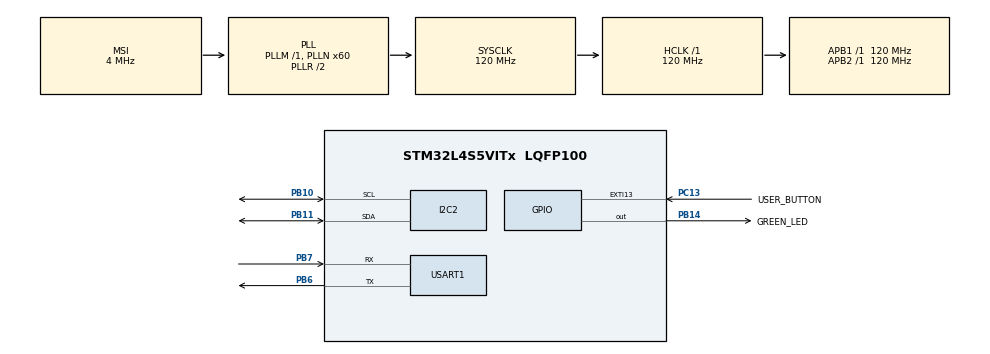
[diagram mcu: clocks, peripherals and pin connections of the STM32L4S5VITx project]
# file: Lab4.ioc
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FREERTOS.Tasks01=button,2,128,CheckButtonPressed,Default,NULL,Dynamic,NULL,NULL;read,0,128,ReadSensorData,Default,NULL,Dynamic,NULL,NULL;transmit,-2,128,TransmitData,Default,NULL,Dynamic,NULL,NULL
I2C2.Timing=0x307075B1
Mcu.Family=STM32L4
Mcu.Name=STM32L4S5VITx
Mcu.Package=LQFP100
NVIC.EXTI15_10_IRQn=true\:5\:0\:false\:false\:true\:true\:true\:true
NVIC.PriorityGroup=NVIC_PRIORITYGROUP_4
NVIC.TIM2_IRQn=true\:5\:0\:false\:false\:true\:true\:true\:true
NVIC.TIM6_DAC_IRQn=true\:0\:0\:false\:false\:true\:false\:false\:true
NVIC.TimeBase=TIM6_DAC_IRQn
NVIC.TimeBaseIP=TIM6
PA13\ (JTMS/SWDIO).Signal=SYS_JTMS-SWDIO
PB10.Mode=I2C
PB10.Signal=I2C2_SCL
PB11.Mode=I2C
PB11.Signal=I2C2_SDA
PB14.GPIO_Label=GREEN_LED
PB14.Signal=GPIO_Output
PB3\ (JTDO/TRACESWO).Signal=SYS_JTDO-SWO
PB6.Mode=Asynchronous
PB6.Signal=USART1_TX
PB7.Mode=Asynchronous
PB7.Signal=USART1_RX
PC13.GPIO_Label=USER_BUTTON
PC13.Signal=GPXTI13
ProjectManager.HeapSize=0x200
ProjectManager.StackSize=0x400
ProjectManager.TargetToolchain=STM32CubeIDE
RCC.ADCFreq_Value=48000000
RCC.AHBFreq_Value=120000000
RCC.APB1Freq_Value=120000000
RCC.APB1TimFreq_Value=120000000
RCC.APB2Freq_Value=120000000
RCC.APB2TimFreq_Value=120000000
RCC.CortexFreq_Value=120000000
RCC.HCLKFreq_Value=120000000
RCC.HSE_VALUE=8000000
RCC.HSI48_VALUE=48000000
RCC.HSI_VALUE=16000000
RCC.LSE_VALUE=32768
RCC.MSI_VALUE=4000000
RCC.PLLN=60
RCC.PLLSAI1N=24
RCC.SYSCLKFreq_VALUE=120000000
RCC.SYSCLKSource=RCC_SYSCLKSOURCE_PLLCLK
RCC.USBFreq_Value=48000000
RCC.VCOOutputFreq_Value=240000000
TIM2.Period=12000000
TIM2.TIM_MasterOutputTrigger=TIM_TRGO_UPDATE
USART1.VirtualMode-Asynchronous=VM_ASYNC
VP_FREERTOS_VS_CMSIS_V1.Mode=CMSIS_V1
VP_SYS_VS_tim6.Mode=TIM6
VP_TIM2_VS_ClockSourceINT.Mode=Internal
board=B-L4S5I-IOT01A

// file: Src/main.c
/* USER CODE BEGIN Header */
/**
  ******************************************************************************
  * @file           : main.c
  * @brief          : Main program body
  ******************************************************************************
  * @attention
  *
  * <h2><center>&copy; Copyright (c) 2021 STMicroelectronics.
  * All rights reserved.</center></h2>
  *
  * This software component is licensed by ST under BSD 3-Clause license,
  * the "License"; You may not use this file except in compliance with the
  * License. You may obtain a copy of the License at:
  *                        opensource.org/licenses/BSD-3-Clause
  *
  ******************************************************************************
  */
/* USER CODE END Header */
#include "main.h"
#include "cmsis_os.h"

/* USER CODE BEGIN Includes */
#include "arm_math.h"
#include <stdio.h>
#include <string.h>
#include "stm32l4s5i_iot01_accelero.h"
#include "stm32l4s5i_iot01_gyro.h"
#include "stm32l4s5i_iot01_hsensor.h"
#include "stm32l4s5i_iot01_magneto.h"
#include "stm32l4s5i_iot01_nfctag.h"
#include "stm32l4s5i_iot01_psensor.h"
#include "stm32l4s5i_iot01_tsensor.h"
/* USER CODE END Includes */

I2C_HandleTypeDef hi2c2;

TIM_HandleTypeDef htim2;

UART_HandleTypeDef huart1;

osThreadId buttonHandle;
osThreadId readHandle;
osThreadId transmitHandle;

void SystemClock_Config(void);
static void MX_GPIO_Init(void);
static void MX_I2C2_Init(void);
static void MX_USART1_UART_Init(void);
static void MX_TIM2_Init(void);
void CheckButtonPressed(void const * argument);
void ReadSensorData(void const * argument);
void TransmitData(void const * argument);

/* USER CODE BEGIN PFP */
void HAL_GPIO_EXTI_Callback(uint16_t GPIO_Pin);
void HAL_TIM_PeriodElapsedCallback (TIM_HandleTypeDef * htim);
/* USER CODE END PFP */

/* USER CODE BEGIN 0 */
float humidity = 0.0;	// for humidity, HTS221
int16_t pDataXYZ_magneto[3];		// for magnetometer, LIS3MDL
int16_t pDataXYZ_accelero[3];		// for accelerometer, LSM6DSL
float pressure = 0;		// for barometer, LPS22HB

uint8_t str[100];		// store string
int button_counter = 0;	// count button state
int number = 0;			// for sample rate check
int another_number = 0;	// for sample rate check

int previousButtonState = GPIO_PIN_SET;	// record previous button state, initially it is 1 (not pressed)
/* USER CODE END 0 */

int main(void)
{

  /* MCU Configuration--------------------------------------------------------*/

  /* Reset of all peripherals, Initializes the Flash interface and the Systick. */
  HAL_Init();

  /* Configure the system clock */
  SystemClock_Config();

  /* Initialize all configured peripherals */
  MX_GPIO_Init();
  MX_I2C2_Init();
  MX_USART1_UART_Init();
  MX_TIM2_Init();
  /* USER CODE BEGIN 2 */
  // Initialize peripherals
  BSP_HSENSOR_Init();
  BSP_MAGNETO_Init();
  BSP_ACCELERO_Init();
  BSP_PSENSOR_Init();
//  HAL_TIM_Base_Start_IT(&htim2);

  /* USER CODE END 2 */

  /* Create the thread(s) */
  /* definition and creation of button */
  osThreadDef(button, CheckButtonPressed, osPriorityHigh, 0, 128);
  buttonHandle = osThreadCreate(osThread(button), NULL);

  /* definition and creation of read */
  osThreadDef(read, ReadSensorData, osPriorityNormal, 0, 128);
  readHandle = osThreadCreate(osThread(read), NULL);

  /* definition and creation of transmit */
  osThreadDef(transmit, TransmitData, osPriorityLow, 0, 128);
  transmitHandle = osThreadCreate(osThread(transmit), NULL);

  /* Start scheduler */
  osKernelStart();

  /* We should never get here as control is now taken by the scheduler */
  /* Infinite loop */
  /* USER CODE BEGIN WHILE */
  while (1)
  {
	  // Read value
	  humidity = BSP_HSENSOR_ReadHumidity();	// read humidity
	  BSP_MAGNETO_GetXYZ(pDataXYZ_magneto);		// read magneto
	  BSP_ACCELERO_AccGetXYZ(pDataXYZ_accelero);// read accelero
	  pressure = BSP_PSENSOR_ReadPressure();	// read pressure
	  another_number = number * 2;		// for sample rate testing in SWV timeline graph
	  HAL_Delay(10);	// further adjust sample rate
	  // Print value
	  memset(str,0,100);		// clear str
	  if (button_counter == 0) {
		  sprintf((char*)str, "The humidity reading is %d\n", (int)humidity);	// store string into str
		  HAL_UART_Transmit(&huart1, str, strlen((char*)str), 5);	// display humidity
	  }
	  else if (button_counter == 1) {
		  sprintf((char*)str, "The magnetometer readings are X = %d, Y = %d, Z = %d\n", (int)pDataXYZ_magneto[0], (int)pDataXYZ_magneto[1], (int)pDataXYZ_magneto[2]);	// store string into str
		  HAL_UART_Transmit(&huart1, str, strlen((char*)str), 5);	// display 3-axis magnetometer readings
	  }
	  else if (button_counter == 2) {
		  sprintf((char*)str, "The accelerometer readings are X = %d, Y = %d, Z = %d\n", (int)pDataXYZ_accelero[0], (int)pDataXYZ_accelero[1], (int)pDataXYZ_accelero[2]);	// store string into str
		  HAL_UART_Transmit(&huart1, str, strlen((char*)str), 5);	// display 3D accelerometer readings
	  }
	  else if (button_counter == 3) {
		  sprintf((char*)str, "The barometer reading is %d\n", (int)pressure);	// store string into str
		  HAL_UART_Transmit(&huart1, str, strlen((char*)str), 5);	// display pressure
	  }
    /* USER CODE END WHILE */

  }
}

void SystemClock_Config(void)
{
  RCC_OscInitTypeDef RCC_OscInitStruct = {0};
  RCC_ClkInitTypeDef RCC_ClkInitStruct = {0};
  RCC_PeriphCLKInitTypeDef PeriphClkInit = {0};

  /** Configure the main internal regulator output voltage
  */
  if (HAL_PWREx_ControlVoltageScaling(PWR_REGULATOR_VOLTAGE_SCALE1_BOOST) != HAL_OK)
  {
    Error_Handler();
  }
  /** Initializes the RCC Oscillators according to the specified parameters
  * in the RCC_OscInitTypeDef structure.
  */
  RCC_OscInitStruct.OscillatorType = RCC_OSCILLATORTYPE_MSI;
  RCC_OscInitStruct.MSIState = RCC_MSI_ON;
  RCC_OscInitStruct.MSICalibrationValue = 0;
  RCC_OscInitStruct.MSIClockRange = RCC_MSIRANGE_6;
  RCC_OscInitStruct.PLL.PLLState = RCC_PLL_ON;
  RCC_OscInitStruct.PLL.PLLSource = RCC_PLLSOURCE_MSI;
  RCC_OscInitStruct.PLL.PLLM = 1;
  RCC_OscInitStruct.PLL.PLLN = 60;
  RCC_OscInitStruct.PLL.PLLP = RCC_PLLP_DIV2;
  RCC_OscInitStruct.PLL.PLLQ = RCC_PLLQ_DIV2;
  RCC_OscInitStruct.PLL.PLLR = RCC_PLLR_DIV2;
  if (HAL_RCC_OscConfig(&RCC_OscInitStruct) != HAL_OK)
  {
    Error_Handler();
  }
  /** Initializes the CPU, AHB and APB buses clocks
  */
  RCC_ClkInitStruct.ClockType = RCC_CLOCKTYPE_HCLK|RCC_CLOCKTYPE_SYSCLK
                              |RCC_CLOCKTYPE_PCLK1|RCC_CLOCKTYPE_PCLK2;
  RCC_ClkInitStruct.SYSCLKSource = RCC_SYSCLKSOURCE_PLLCLK;
  RCC_ClkInitStruct.AHBCLKDivider = RCC_SYSCLK_DIV1;
  RCC_ClkInitStruct.APB1CLKDivider = RCC_HCLK_DIV1;
  RCC_ClkInitStruct.APB2CLKDivider = RCC_HCLK_DIV1;

  if (HAL_RCC_ClockConfig(&RCC_ClkInitStruct, FLASH_LATENCY_5) != HAL_OK)
  {
    Error_Handler();
  }
  PeriphClkInit.PeriphClockSelection = RCC_PERIPHCLK_USART1|RCC_PERIPHCLK_I2C2;
  PeriphClkInit.Usart1ClockSelection = RCC_USART1CLKSOURCE_PCLK2;
  PeriphClkInit.I2c2ClockSelection = RCC_I2C2CLKSOURCE_PCLK1;
  if (HAL_RCCEx_PeriphCLKConfig(&PeriphClkInit) != HAL_OK)
  {
    Error_Handler();
  }
}

static void MX_I2C2_Init(void)
{

  hi2c2.Instance = I2C2;
  hi2c2.Init.Timing = 0x307075B1;
  hi2c2.Init.OwnAddress1 = 0;
  hi2c2.Init.AddressingMode = I2C_ADDRESSINGMODE_7BIT;
  hi2c2.Init.DualAddressMode = I2C_DUALADDRESS_DISABLE;
  hi2c2.Init.OwnAddress2 = 0;
  hi2c2.Init.OwnAddress2Masks = I2C_OA2_NOMASK;
  hi2c2.Init.GeneralCallMode = I2C_GENERALCALL_DISABLE;
  hi2c2.Init.NoStretchMode = I2C_NOSTRETCH_DISABLE;
  if (HAL_I2C_Init(&hi2c2) != HAL_OK)
  {
    Error_Handler();
  }
  /** Configure Analogue filter
  */
  if (HAL_I2CEx_ConfigAnalogFilter(&hi2c2, I2C_ANALOGFILTER_ENABLE) != HAL_OK)
  {
    Error_Handler();
  }
  /** Configure Digital filter
  */
  if (HAL_I2CEx_ConfigDigitalFilter(&hi2c2, 0) != HAL_OK)
  {
    Error_Handler();
  }

}

static void MX_TIM2_Init(void)
{

  TIM_ClockConfigTypeDef sClockSourceConfig = {0};
  TIM_MasterConfigTypeDef sMasterConfig = {0};

  htim2.Instance = TIM2;
  htim2.Init.Prescaler = 0;
  htim2.Init.CounterMode = TIM_COUNTERMODE_UP;
  htim2.Init.Period = 12000000;
  htim2.Init.ClockDivision = TIM_CLOCKDIVISION_DIV1;
  htim2.Init.AutoReloadPreload = TIM_AUTORELOAD_PRELOAD_DISABLE;
  if (HAL_TIM_Base_Init(&htim2) != HAL_OK)
  {
    Error_Handler();
  }
  sClockSourceConfig.ClockSource = TIM_CLOCKSOURCE_INTERNAL;
  if (HAL_TIM_ConfigClockSource(&htim2, &sClockSourceConfig) != HAL_OK)
  {
    Error_Handler();
  }
  sMasterConfig.MasterOutputTrigger = TIM_TRGO_UPDATE;
  sMasterConfig.MasterSlaveMode = TIM_MASTERSLAVEMODE_DISABLE;
  if (HAL_TIMEx_MasterConfigSynchronization(&htim2, &sMasterConfig) != HAL_OK)
  {
    Error_Handler();
  }

}

static void MX_USART1_UART_Init(void)
{

  huart1.Instance = USART1;
  huart1.Init.BaudRate = 115200;
  huart1.Init.WordLength = UART_WORDLENGTH_8B;
  huart1.Init.StopBits = UART_STOPBITS_1;
  huart1.Init.Parity = UART_PARITY_NONE;
  huart1.Init.Mode = UART_MODE_TX_RX;
  huart1.Init.HwFlowCtl = UART_HWCONTROL_NONE;
  huart1.Init.OverSampling = UART_OVERSAMPLING_16;
  huart1.Init.OneBitSampling = UART_ONE_BIT_SAMPLE_DISABLE;
  huart1.Init.ClockPrescaler = UART_PRESCALER_DIV1;
  huart1.AdvancedInit.AdvFeatureInit = UART_ADVFEATURE_NO_INIT;
  if (HAL_UART_Init(&huart1) != HAL_OK)
  {
    Error_Handler();
  }
  if (HAL_UARTEx_SetTxFifoThreshold(&huart1, UART_TXFIFO_THRESHOLD_1_8) != HAL_OK)
  {
    Error_Handler();
  }
  if (HAL_UARTEx_SetRxFifoThreshold(&huart1, UART_RXFIFO_THRESHOLD_1_8) != HAL_OK)
  {
    Error_Handler();
  }
  if (HAL_UARTEx_DisableFifoMode(&huart1) != HAL_OK)
  {
    Error_Handler();
  }

}

static void MX_GPIO_Init(void)
{
  GPIO_InitTypeDef GPIO_InitStruct = {0};

  /* GPIO Ports Clock Enable */
  __HAL_RCC_GPIOC_CLK_ENABLE();
  __HAL_RCC_GPIOB_CLK_ENABLE();
  __HAL_RCC_GPIOA_CLK_ENABLE();

  /*Configure GPIO pin Output Level */
  HAL_GPIO_WritePin(GREEN_LED_GPIO_Port, GREEN_LED_Pin, GPIO_PIN_RESET);

  /*Configure GPIO pin : USER_BUTTON_Pin */
  GPIO_InitStruct.Pin = USER_BUTTON_Pin;
  GPIO_InitStruct.Mode = GPIO_MODE_IT_RISING;
  GPIO_InitStruct.Pull = GPIO_NOPULL;
  HAL_GPIO_Init(USER_BUTTON_GPIO_Port, &GPIO_InitStruct);

  /*Configure GPIO pin : GREEN_LED_Pin */
  GPIO_InitStruct.Pin = GREEN_LED_Pin;
  GPIO_InitStruct.Mode = GPIO_MODE_OUTPUT_PP;
  GPIO_InitStruct.Pull = GPIO_NOPULL;
  GPIO_InitStruct.Speed = GPIO_SPEED_FREQ_LOW;
  HAL_GPIO_Init(GREEN_LED_GPIO_Port, &GPIO_InitStruct);

  /* EXTI interrupt init*/
  HAL_NVIC_SetPriority(EXTI15_10_IRQn, 5, 0);
  HAL_NVIC_EnableIRQ(EXTI15_10_IRQn);

}

/* USER CODE BEGIN 4 */
//void HAL_GPIO_EXTI_Callback(uint16_t GPIO_Pin) {	// detect when the button is pressed
//	if (GPIO_Pin == USER_BUTTON_Pin) {
//		HAL_GPIO_TogglePin(GREEN_LED_GPIO_Port, GREEN_LED_Pin);
//		button_counter++;
//		if (button_counter == 4) {
//			button_counter = 0;
//		}
//	}
//}

//void HAL_TIM_PeriodElapsedCallback(TIM_HandleTypeDef * htim) {	// What happens when timer reaches its counter number
//	if (htim == &htim2) {
//		number++;
//		if (number == 10) {
//			number = 0;
//		}
//	}
//}
/* USER CODE END 4 */

void CheckButtonPressed(void const * argument)
{
  /* USER CODE BEGIN 5 */
  /* Infinite loop */
  for(;;)
  {
    osDelay(100);
    // When the button is depressed the logic state is �???0�???, otherwise the logic state is �???1�???.
    int currentButtonState = HAL_GPIO_ReadPin(USER_BUTTON_GPIO_Port, USER_BUTTON_Pin);
/* This commented part is used to test this task
//	memset(str,0,100);
//	sprintf((char*)str, "The button_counter reading is %d, currentButtonState is %d\n", button_counter, currentButtonState);	// store string into str
//	HAL_UART_Transmit(&huart1, str, strlen((char*)str), 5);	// display button counter and currentButtonState
 */
    if (currentButtonState != previousButtonState) {	// when button is pressed or released
        if (currentButtonState == GPIO_PIN_RESET) {		// when the button is pressed
        	button_counter++;
        	if (button_counter == 4) {
        		button_counter = 0;
        	}
        }
        previousButtonState = currentButtonState;	// update previousButtonState
    }
  }
  /* USER CODE END 5 */
}

void ReadSensorData(void const * argument)
{
  /* USER CODE BEGIN ReadSensorData */
  /* Infinite loop */
  for(;;)
  {
    osDelay(100);
    if (button_counter == 0) {
    	humidity = BSP_HSENSOR_ReadHumidity();		// read humidity
    }
    else if (button_counter == 1) {
    	BSP_MAGNETO_GetXYZ(pDataXYZ_magneto);		// read magneto
    }
    else if (button_counter == 2) {
    	BSP_ACCELERO_AccGetXYZ(pDataXYZ_accelero);	// read accelero
    }
    else if (button_counter == 3) {
    	pressure = BSP_PSENSOR_ReadPressure();		// read pressure
    }
  }
  /* USER CODE END ReadSensorData */
}

void TransmitData(void const * argument)
{
  /* USER CODE BEGIN TransmitData */
  /* Infinite loop */
  for(;;)
  {
    osDelay(100);
	memset(str,0,100);		// clear str
	if (button_counter == 0) {
		sprintf((char*)str, "The humidity reading is %d\n", (int)humidity);	// store string into str
		HAL_UART_Transmit(&huart1, str, strlen((char*)str), 5);	// display humidity
	}
	else if (button_counter == 1) {
		sprintf((char*)str, "The magnetometer readings are X = %d, Y = %d, Z = %d\n", (int)pDataXYZ_magneto[0], (int)pDataXYZ_magneto[1], (int)pDataXYZ_magneto[2]);	// store string into str
		HAL_UART_Transmit(&huart1, str, strlen((char*)str), 5);	// display 3-axis magnetometer readings
	}
	else if (button_counter == 2) {
		sprintf((char*)str, "The accelerometer readings are X = %d, Y = %d, Z = %d\n", (int)pDataXYZ_accelero[0], (int)pDataXYZ_accelero[1], (int)pDataXYZ_accelero[2]);	// store string into str
		HAL_UART_Transmit(&huart1, str, strlen((char*)str), 5);	// display 3D accelerometer readings
	}
	else if (button_counter == 3) {
		sprintf((char*)str, "The barometer reading is %d\n", (int)pressure);	// store string into str
		HAL_UART_Transmit(&huart1, str, strlen((char*)str), 5);	// display pressure
	}
  }
  /* USER CODE END TransmitData */
}

 /**
  * @brief  Period elapsed callback in non blocking mode
  * @note   This function is called  when TIM6 interrupt took place, inside
  * HAL_TIM_IRQHandler(). It makes a direct call to HAL_IncTick() to increment
  * a global variable "uwTick" used as application time base.
  * @param  htim : TIM handle
  * @retval None
  */
void HAL_TIM_PeriodElapsedCallback(TIM_HandleTypeDef *htim)
{
  if (htim->Instance == TIM6) {
    HAL_IncTick();
  }
}

void Error_Handler(void)
{
  __disable_irq();
  while (1)
  {
  }
}

/************************ (C) COPYRIGHT STMicroelectronics *****END OF FILE****/
